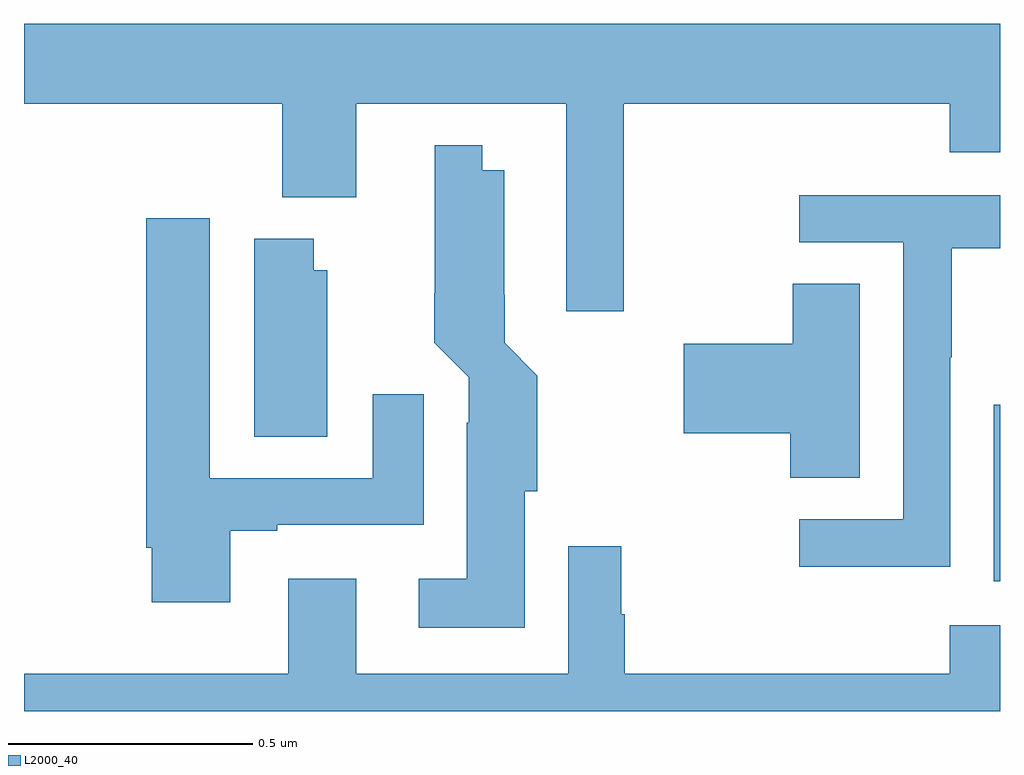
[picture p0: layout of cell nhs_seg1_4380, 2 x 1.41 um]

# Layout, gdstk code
import gdstk
lib = gdstk.Library(unit=1e-6, precision=1e-09)
def R(c, l, rs):  # rectangles x0, y0, x1, y1
    for r in rs: c.add(gdstk.rectangle(r[:2], r[2:], *l))
def P(c, l, *ps):  # polygons
    for p in ps: c.add(gdstk.Polygon(p, *l))
L2000_40 = (2000, 40)

nhs_seg1_4380 = lib.new_cell('nhs_seg1_4380')
R(nhs_seg1_4380, L2000_40, [(167.987,505.466,168,505.827)])
P(nhs_seg1_4380, L2000_40, [(167.229,506.444),(167.897,506.444),(167.897,506.345),(168,506.345),(168,506.608),(166,506.608),(166,506.444),(166.529,506.444),(166.529,506.252),(166.681,506.252),(166.681,506.444),(167.111,506.444),(167.111,506.019),(167.229,506.019)],
  [(167.026,505.65),(167.052,505.65),(167.052,505.887),(166.985,505.954),(166.985,506.053),(166.984,506.053),(166.984,506.308),(166.939,506.308),(166.939,506.359),(166.842,506.359),(166.842,506.056),(166.841,506.056),(166.841,505.954),(166.911,505.884),(166.911,505.79),(166.907,505.79),(166.907,505.471),(166.809,505.471),(166.809,505.37),(167.026,505.37)],
  [(167.898,505.924),(167.901,505.924),(167.901,506.148),(168,506.148),(168,506.256),(167.589,506.256),(167.589,506.16),(167.802,506.16),(167.802,505.593),(167.589,505.593),(167.589,505.495),(167.898,505.495)],
  [(166.423,505.569),(166.519,505.569),(166.519,505.581),(166.819,505.581),(166.819,505.849),(166.715,505.849),(166.715,505.677),(166.381,505.677),(166.381,506.209),(166.25,506.209),(166.25,505.534),(166.262,505.534),(166.262,505.422),(166.423,505.422)],
  [(166.621,506.103),(166.594,506.103),(166.594,506.167),(166.472,506.167),(166.472,505.762),(166.621,505.762)],
  [(167.713,506.075),(167.575,506.075),(167.575,505.952),(167.352,505.952),(167.352,505.769),(167.57,505.769),(167.57,505.678),(167.713,505.678)],
  [(168,505.375),(167.897,505.375),(167.897,505.276),(167.231,505.276),(167.231,505.398),(167.224,505.398),(167.224,505.537),(167.115,505.537),(167.115,505.276),(166.681,505.276),(166.681,505.471),(166.541,505.471),(166.541,505.276),(166,505.276),(166,505.199),(168,505.199)])

lib.write_gds('nhs_seg1_4380.gds')
